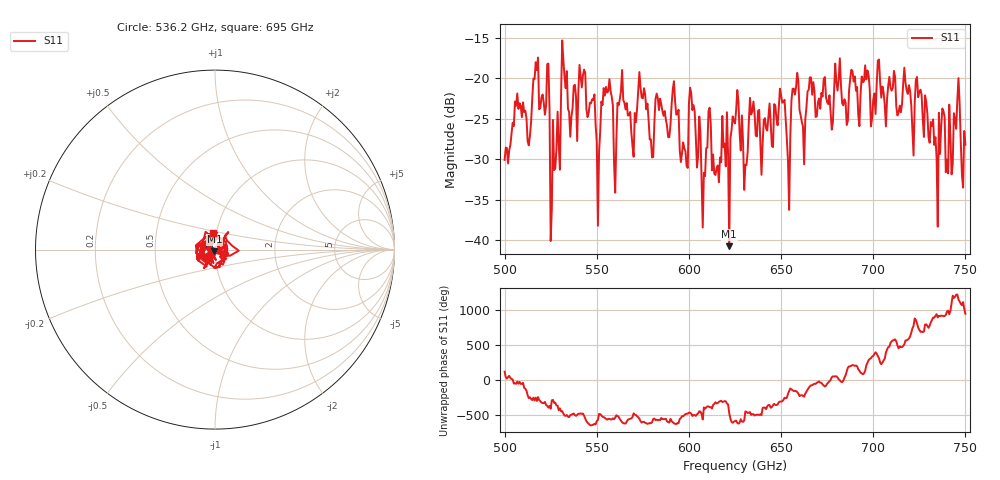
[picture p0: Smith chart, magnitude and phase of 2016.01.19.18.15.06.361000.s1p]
!Created with skrf (http://scikit-rf.org).
# GHz S RI R 50.0
!freq ReS11 ImS11
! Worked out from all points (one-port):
!   401 points, 500 GHz to 750 GHz, reference 50 ohm
!   lowest |S11| = -40.7 dB at 621.9 GHz (marker M1), VSWR 1.02, Z = 49.7 - j0.848 ohm
!   |S11| at or under -10 dB: start of sweep to end of sweep
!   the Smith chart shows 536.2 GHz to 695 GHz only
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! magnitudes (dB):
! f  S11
! 500 GHz  -30.1
! 506.9 GHz  -21.9
! 513.1 GHz  -28.3
! 516.9 GHz  -18.0
! 523.1 GHz  -18.3
! 526.2 GHz  -25.2
! 531.2 GHz  -15.3
! 542.5 GHz  -19.7
! 550.6 GHz  -38.2
! 553.8 GHz  -21.2
! 560.6 GHz  -27.8
! 562.5 GHz  -22.6
! 593.8 GHz  -24.5
! 598.1 GHz  -29.1
! 601.9 GHz  -23.9
! 608.1 GHz  -31.7
! 610.6 GHz  -24.1
! 621.9 GHz  -40.7
! 625 GHz  -25.6
! 630.6 GHz  -30.7
! 634.4 GHz  -24.1
! 650.6 GHz  -23.0
! 653.8 GHz  -30.2
! 656.2 GHz  -21.3
! 687.5 GHz  -20.1
! 718.8 GHz  -22.0
! 733.8 GHz  -27.3
! 750 GHz  -28.2
